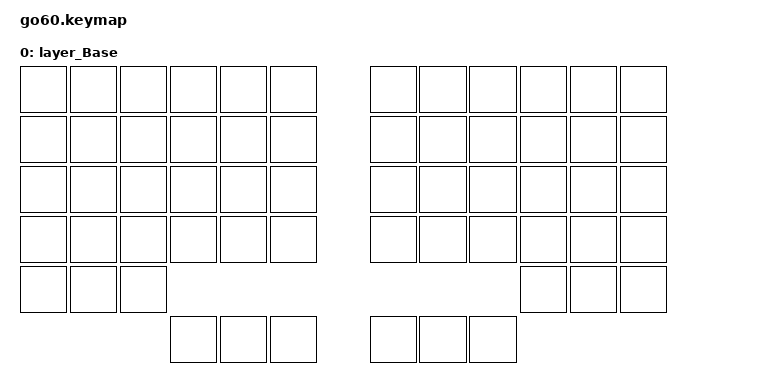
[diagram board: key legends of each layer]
/*
 * Copyright (c) 2020 The ZMK Contributors
 *
 * SPDX-License-Identifier: MIT
 */

/* Default keymap stub. Users should provide their own keymap via KEYMAP_FILE. */

#include <behaviors.dtsi>
#include <dt-bindings/zmk/keys.h>

/ {
    keymap {
        compatible = "zmk,keymap";

        layer_Base {
            bindings = <
 &none  &none  &none  &none  &none  &none      &none  &none  &none  &none  &none  &none
 &none  &none  &none  &none  &none  &none      &none  &none  &none  &none  &none  &none
 &none  &none  &none  &none  &none  &none      &none  &none  &none  &none  &none  &none
 &none  &none  &none  &none  &none  &none      &none  &none  &none  &none  &none  &none
               &none  &none  &none                     &none  &none  &none
                                     &none  &none  &none  &none  &none  &none
            >;
        };
    };
};
